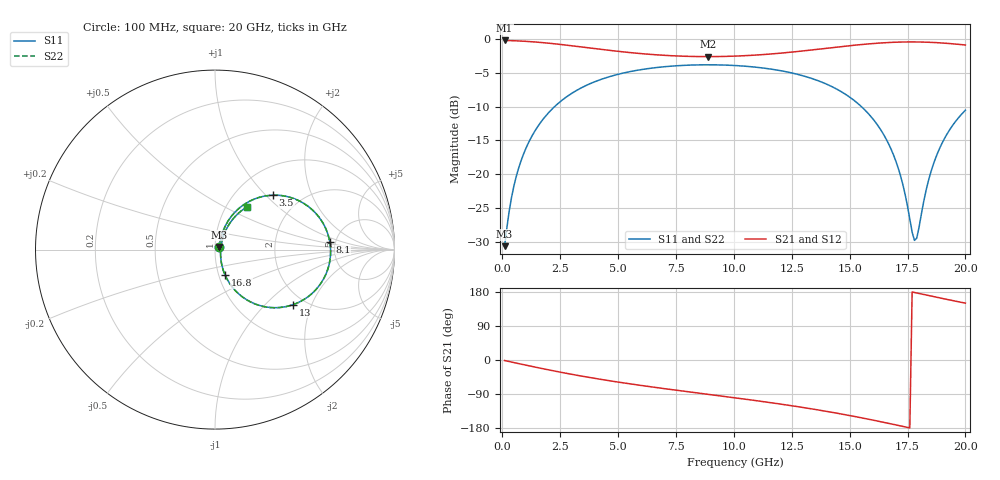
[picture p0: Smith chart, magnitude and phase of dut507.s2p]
! Touchstone file exported from HFSS 2026.1.0
!  File:  C:/ffzhzh/LocalFiles/Ansys_Project_Files/temp_train_TSV_RDL_507_1783108232_50312.aedt
!  Generated:  04:03:49 AM Jul  4, 2026
!  Design:  TSV_RDL
!  Project:  temp_train_TSV_RDL_507_1783108232_50312
! Variables:
!  h_bsmrdl = 3.27um
!  h_ox = 20um
!  h_rdl = 5um
!  h_sub = 93.37um
!  h_tmrdl = 2.7um
!  h_tsv = 93.37um
!  h_via = 3um
!  l_bsmrdl = 658.48um
!  l_sub = 3265.3um
!  l_tmrdl = 189.57um
!  m_sub = 200um
!  pitch = 54.28um
!  r_tsv = 3.29um
!  s_tmrdl = 10um
!  w_bsmrdl = 14.9um
!  w_sub = 500um
!  w_tmrdl = 28.96um
!  x_tsv_center1 = 204.05um
!  x_tsv_center2 = 877.43um
!  x_tsv_center3 = 1095.96um
!  x_tsv_center4 = 1769.34um
!  x_tsv_center5 = 1987.87um
!  x_tsv_center6 = 2661.25um
# GHz S MA R 50.000000
! Terminal data exported
! Port[1] = TM_RDL1_1_T1
! Port[2] = TM_RDL5_1_T1
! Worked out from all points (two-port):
!   200 points, 100 MHz to 20 GHz, reference 50 ohm
!   highest |S21| = -0.22 dB at 100 MHz (marker M1); lowest = -2.6 dB at 8.9 GHz (marker M2)
!   |S21| within 3 dB of the highest: start of sweep to end of sweep
!   lowest |S11| = -30.7 dB at 100 MHz (marker M3), VSWR 1.06, Z = 52.5 + j1.61 ohm
!   |S11| at or under -10 dB: start of sweep to 2.262 GHz; 15.51 GHz to end of sweep
!   |S22| runs from -30.7 to -3.8 dB; largest |S21 - S12| = 2.1e-14
!   S11 on the Smith chart (normalised r, x): 100 MHz: 1.05, +0.03; 3.5 GHz: 1.46, +1.10; 8.1 GHz: 4.46, +0.67; 13 GHz: 1.74, -1.49; 16.8 GHz: 1.07, -0.31; 20 GHz: 1.25, +0.65
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0.1  0.02931 31.5  0.9753 -1.4  0.9753 -1.4  0.02931 31.5
! Gamma 0 0 0 0
! Port Impedance 50 0 50 0
0.3  0.05352 57.4  0.9734 -4.1  0.9734 -4.1  0.05352 57.4
0.5  0.08156 64.3  0.9706 -6.8  0.9706 -6.8  0.08156 64.3
1.2  0.1802 65.2  0.9563 -16.0  0.9563 -16.0  0.1802 65.2
2.2  0.3091 56.4  0.9236 -28.5  0.9236 -28.5  0.3091 56.4
3.5  0.4427 43.2  0.8696 -43.3  0.8696 -43.3  0.4427 43.2
6.8  0.6186 14.1  0.7606 -73.9  0.7606 -73.9  0.6186 14.0
8.1  0.6408 4.0  0.7432 -84.4  0.7432 -84.4  0.6409 4.0
8.9  0.6443 -2.1  0.7404 -90.7  0.7404 -90.7  0.6444 -2.1
10.1  0.6355 -11.2  0.7474 -100.2  0.7474 -100.2  0.6355 -11.2
13  0.5334 -35.0  0.8163 -125.4  0.8163 -125.4  0.5334 -35.1
13.4  0.508 -38.6  0.8306 -129.3  0.8306 -129.3  0.508 -38.7
15.4  0.3284 -57.9  0.906 -151.2  0.906 -151.2  0.3284 -58.0
16.7  0.1653 -68.1  0.942 -167.4  0.942 -167.4  0.1653 -68.2
16.8  0.1517 -68.3  0.9438 -168.7  0.9438 -168.7  0.1517 -68.5
17.3  0.08356 -64.3  0.9499 -175.2  0.9499 -175.2  0.08342 -64.6
17.8  0.03233 -11.1  0.9511 178.2  0.9511 178.2  0.03189 -11.2
17.9  0.03364 13.2  0.9508 176.8  0.9508 176.8  0.03319 13.3
18.3  0.0756 55.2  0.9473 171.6  0.9473 171.6  0.07538 55.5
18.7  0.1297 60.9  0.9408 166.3  0.9408 166.3  0.1295 61.1
19.3  0.2102 58.9  0.9259 158.7  0.9259 158.7  0.2101 59.1
20  0.2973 53.1  0.9025 150.0  0.9025 150.0  0.2972 53.2
